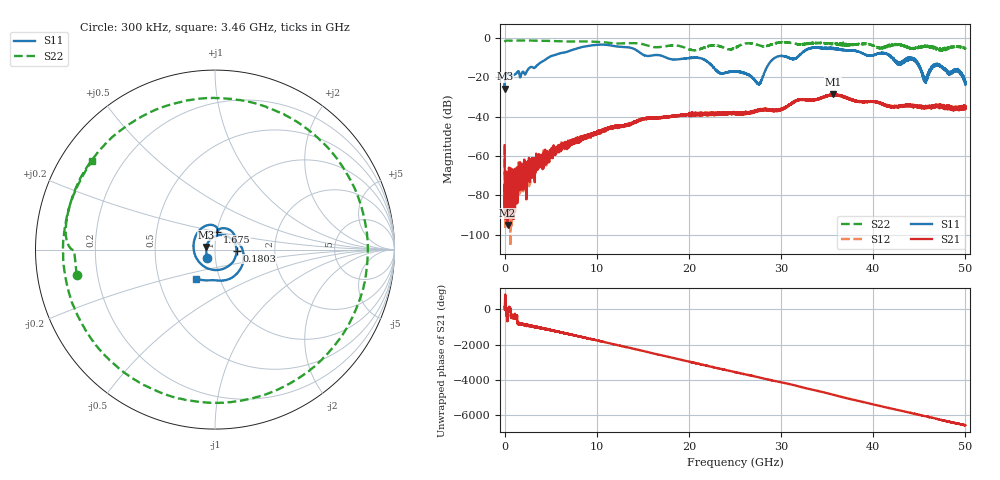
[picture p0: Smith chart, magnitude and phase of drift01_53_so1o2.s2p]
!Created with skrf (http://scikit-rf.org).
# Hz S RI R 50.0
!freq ReS11 ImS11 ReS21 ImS21 ReS12 ImS12 ReS22 ImS22
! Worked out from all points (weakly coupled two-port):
!   10001 points, 300 kHz to 50 GHz, reference 50 ohm
!   highest |S21| = -28.70 dB at 35.63 GHz (marker M1); lowest = -95.0 dB at 325.3 MHz (marker M2)
!   lowest |S11| = -25.8 dB at 5.3 MHz (marker M3), VSWR 1.11, Z = 45.3 + j1.38 ohm
!   |S11| at or under -10 dB: start of sweep to 4.765 GHz; 20.87 GHz to 29.4 GHz (8.528 GHz wide, 33.9 % of centre); 43.86 GHz to end of sweep (the widest 3 of 15)
!   |S22| runs from -6.7 to -1.4 dB; largest |S21 - S12| = 0.0035
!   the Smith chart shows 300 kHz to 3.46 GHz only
!   S11 on the Smith chart (normalised r, x): 300 kHz: 0.91, -0.08; 180.3 MHz: 1.27, -0.01; 1.675 GHz: 1.01, +0.20; 3.46 GHz: 0.77, -0.26
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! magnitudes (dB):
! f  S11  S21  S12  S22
! 300 kHz  -23.6  -54.5  -55.0  -2.1
! 5.3 MHz  -25.8  -73.6  -72.3  -2.1
! 180.3 MHz  -18.4  -71.7  -81.1  -1.4
! 325.3 MHz  -18.3  -95.0  -78.5  -1.4
! 1.675 GHz  -20.1  -66.2  -70.8  -1.4
! 3.46 GHz  -14.3  -65.3  -60.8  -1.5
! 8.335 GHz  -4.8  -51.2  -51.0  -1.8
! 16.67 GHz  -8.8  -40.6  -40.6  -4.8
! 21.2 GHz  -10.3  -38.7  -38.7  -5.8
! 25 GHz  -17.0  -38.1  -38.5  -5.1
! 27.59 GHz  -23.7  -36.8  -36.7  -3.8
! 29.28 GHz  -10.3  -37.1  -36.7  -2.8
! 31.45 GHz  -10.7  -32.2  -32.4  -3.0
! 33.34 GHz  -5.1  -31.6  -31.8  -2.7
! 35.63 GHz  -5.7  -28.7  -28.9  -3.1
! 41.67 GHz  -8.8  -35.1  -34.8  -4.3
! 42.74 GHz  -12.8  -35.5  -34.9  -3.3
! 44.43 GHz  -11.0  -35.1  -34.7  -5.2
! 45.63 GHz  -21.6  -35.0  -35.1  -4.2
! 46.95 GHz  -13.5  -34.8  -34.4  -5.5
! 49.25 GHz  -17.1  -36.0  -36.2  -4.6
! 50 GHz  -22.5  -35.0  -35.2  -5.3
